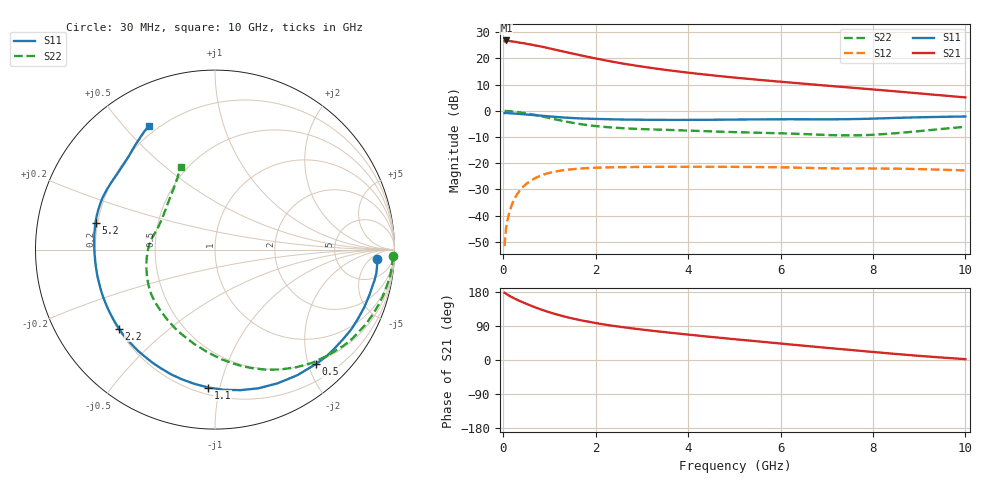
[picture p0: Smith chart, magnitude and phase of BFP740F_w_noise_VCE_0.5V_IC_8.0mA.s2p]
! Infineon Technologies  Discrete & RF Semiconductors
! BFP740F
! VCE =  0.5 V,  IC =  8.0 mA
! Common Emitter S-Parameters:  Oct 2012
# GHz  S  MA  R  50
!  f  S11  S21  S12  S22
! GHz  MAG  ANG  MAG  ANG  MAG  ANG  MAG  ANG
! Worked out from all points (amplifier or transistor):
!   99 points, 30 MHz to 10 GHz, reference 50 ohm
!   highest |S21| = 26.9 dB at 70 MHz (marker M1)
!   |S21| within 3 dB of that: start of sweep to 994 MHz
!   unconditionally stable (mu >= 1): 6.957 GHz to end of sweep
!   at 350 MHz: K = 0.06, MSG = 28.3 dB, |S12| = -30.6 dB
!   at 3.5 GHz: K = 0.44, MSG = 18.5 dB, |S12| = -21.4 dB
!   at 10 GHz: K = 1.34, MAG = 10.4 dB, |S12| = -22.8 dB
!   lowest NFmin = 0.42 dB at 450 MHz
!   S11 on the Smith chart (normalised r, x): 30 MHz: 15, -8; 500 MHz: 0.46, -2.14; 1.1 GHz: 0.24, -0.92; 2.2 GHz: 0.20, -0.34; 5.2 GHz: 0.19, +0.11; 10 GHz: 0.17, +0.59
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0.03  0.9036 -3.3  21.43 177.3  0.0026 92.9  0.9901 -2.2
0.05  0.9068 -5.3  21.96 176.0  0.0042 90.0  0.9904 -3.9
0.07  0.9081 -7.5  22.05 174.3  0.0063 84.5  0.9897 -5.5
0.15  0.8972 -16.0  21.43 168.2  0.013 81.5  0.9794 -11.6
0.25  0.8849 -25.8  20.8 161.9  0.0214 76.3  0.9606 -19.0
0.35  0.8705 -35.2  20.04 156.0  0.0294 70.9  0.9387 -26.2
0.45  0.86 -43.7  19.52 150.9  0.0368 65.9  0.9115 -33.0
0.5  0.8505 -48.5  19.01 148.3  0.0403 63.5  0.8951 -36.6
0.6  0.8367 -56.8  18.42 143.4  0.0466 59.0  0.8623 -43.2
0.8  0.8096 -72.7  17.04 134.1  0.0572 50.5  0.7961 -55.5
1.1  0.7693 -92.8  14.87 122.2  0.0684 39.6  0.6946 -72.2
1.4  0.7369 -109.4  12.96 112.5  0.0751 31.6  0.6134 -86.3
1.7  0.7128 -123.3  11.35 104.3  0.0793 25.3  0.5515 -98.7
2.2  0.693 -140.6  9.221 93.4  0.0828 17.3  0.4919 -116.6
2.8  0.6779 -155.5  7.453 83.3  0.0844 10.8  0.455 -132.0
3.4  0.6715 -166.8  6.236 74.8  0.0852 6.0  0.4365 -143.2
4.2  0.6715 -179.0  5.111 64.6  0.0854 1.0  0.4129 -155.4
5.1  0.6816 168.6  4.231 53.8  0.0848 -3.9  0.3898 -168.6
5.2  0.6822 167.4  4.151 52.7  0.0848 -4.3  0.3877 -169.9
6.7  0.6881 148.7  3.18 35.5  0.0807 -10.9  0.3544 168.3
8.5  0.7317 127.5  2.349 15.9  0.0786 -15.4  0.3731 133.8
10  0.7794 118.0  1.803 2.3  0.0727 -19.2  0.4959 112.7
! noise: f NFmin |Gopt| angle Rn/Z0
0.45  0.42  0.27  6  0.19
0.9  0.47  0.27  11  0.15
1.5  0.53  0.26  23  0.11
1.9  0.58  0.26  31  0.1
2.4  0.63  0.25  42  0.09
3.5  0.76  0.22  65  0.1
5.5  0.98  0.13  118  0.12
10  1.43  0.38  -121  0.08
